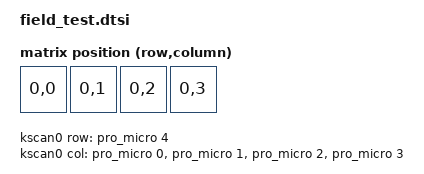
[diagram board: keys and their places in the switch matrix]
/*
 * Copyright (c) 2024 Field Test contributors
 *
 * SPDX-License-Identifier: MIT
 *
 * Field Test — 4-key unibody test keyboard with analog joystick
 * MCU: nRF52840 (nice_nano_v2, pro_micro footprint)
 *
 * Matrix: 4 columns × 1 row  (col2row, active-high with pull-down)
 *
 * Key positions:
 *   0  1  2  3
 *
 * GPIO pin assignments (pro_micro numbering):
 *   Row:  4
 *   Cols: 0  1  2  3
 *
 * Analog joystick (ADC-based):
 *   X-axis → pro_micro 20  (nRF52840 AIN4 / P0.28)
 *   Y-axis → pro_micro 21  (nRF52840 AIN6 / P0.30)
 *   Button → pro_micro 17
 */

#include <dt-bindings/zmk/matrix_transform.h>
#include <physical_layouts.dtsi>
#include <zephyr/dt-bindings/input/input-event-codes.h>

/ {
    chosen {
        zmk,kscan = &kscan0;
        zmk,physical-layout = &default_layout;
    };

    default_layout: default_layout {
        compatible = "zmk,physical-layout";
        display-name = "Field Test";
        transform = <&default_transform>;
        keys
        /* w    h     x     y    rot   rx    ry  */
            = <&key_physical_attrs 100 100    0    0     0    0    0>  /* 0 */
            , <&key_physical_attrs 100 100  100    0     0    0    0>  /* 1 */
            , <&key_physical_attrs 100 100  200    0     0    0    0>  /* 2 */
            , <&key_physical_attrs 100 100  300    0     0    0    0>  /* 3 */
            ;
    };

    default_transform: keymap_transform_0 {
        compatible = "zmk,matrix-transform";
        columns = <4>;
        rows = <1>;
        map = <
RC(0,0) RC(0,1) RC(0,2) RC(0,3)
        >;
    };

    kscan0: kscan {
        compatible = "zmk,kscan-gpio-matrix";
        wakeup-source;
        diode-direction = "col2row";

        row-gpios
            = <&pro_micro 4  (GPIO_ACTIVE_HIGH | GPIO_PULL_DOWN)>
            ;

        col-gpios
            = <&pro_micro 0  GPIO_ACTIVE_HIGH>
            , <&pro_micro 1  GPIO_ACTIVE_HIGH>
            , <&pro_micro 2  GPIO_ACTIVE_HIGH>
            , <&pro_micro 3  GPIO_ACTIVE_HIGH>
            ;
    };

    /* ═══════════════════════════════════════════════════════════════════
     *  ANALOG JOYSTICK — two-axis ADC-based pointing device
     *  ADC channels configured in boards/nice_nano_v2.overlay
     * ═══════════════════════════════════════════════════════════════════ */

    analog_joystick: analog_joystick {
        compatible = "zephyr,analog-axis";
        poll-period-ms = <15>;

        /* X-axis: VRx → pro_micro 20 (P0.28, AIN4) */
        axis-x {
            io-channels = <&adc 4>;
            in-deadzone = <150>;
            in-min = <50>;
            in-max = <4000>;
            out-min = <-127>;
            out-max = <127>;
            zephyr,axis = <INPUT_ABS_X>;
        };

        /* Y-axis: VRy → pro_micro 21 (P0.30, AIN6)
         * Add invert-input; if Y movement is reversed. */
        axis-y {
            io-channels = <&adc 6>;
            in-deadzone = <150>;
            in-min = <50>;
            in-max = <4000>;
            out-min = <-127>;
            out-max = <127>;
            zephyr,axis = <INPUT_ABS_Y>;
            invert-input;
        };
    };

    /* Joystick press-down button → pro_micro 17 */
    joystick_button: joystick_button {
        compatible = "gpio-keys";
        wakeup-source;
        joystick_btn: joystick_btn {
            gpios = <&pro_micro 17 (GPIO_ACTIVE_LOW | GPIO_PULL_UP)>;
            zephyr,code = <INPUT_BTN_0>;
        };
    };

    /* Wire analog joystick into ZMK pointing subsystem */
    joystick_listener: joystick_listener {
        compatible = "zmk,input-listener";
        device = <&analog_joystick>;
    };
};
